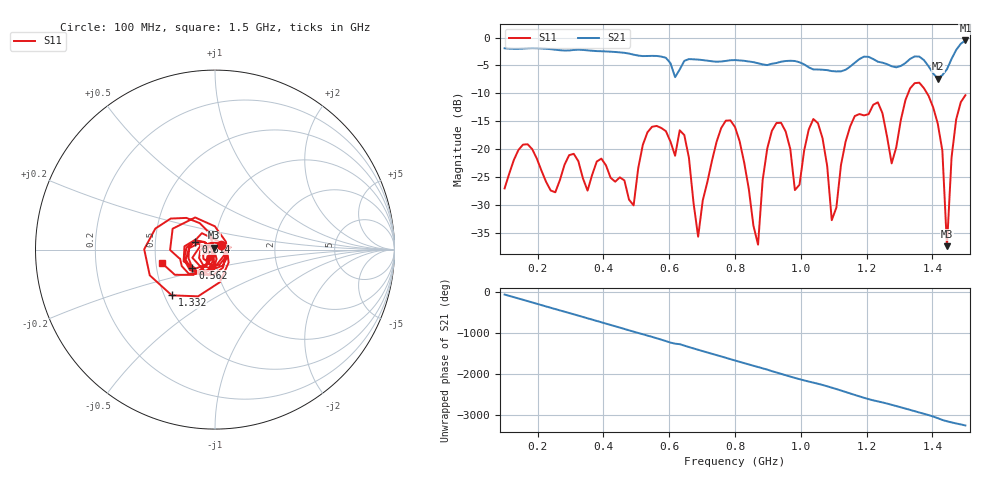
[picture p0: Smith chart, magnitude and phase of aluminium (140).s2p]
! NanoVNA-App
! Date: 2025-09-25 14:56:22
! Start: 100MHz Stop: 1,5GHz Points: 101
! S-Parameter data: F S11 S21 S12 S22
# Hz S RI R 50
!  Frequency  S11_Real  S11_Imag  S21_Real  S21_Imag  S12_Real  S12_Imag  S22_Real  S22_Imag
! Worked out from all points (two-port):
!   101 points, 100 MHz to 1.5 GHz, reference 50 ohm
!   highest |S21| = -0.52 dB at 1.5 GHz (marker M1); lowest = -7.3 dB at 1.416 GHz (marker M2)
!   |S21| within 3 dB of the highest: start of sweep to 583.4 MHz; 1.461 GHz to end of sweep (the widest 2 of 4)
!   lowest |S11| = -37.3 dB at 1.444 GHz (marker M3), VSWR 1.03, Z = 49.2 + j1.11 ohm
!   |S11| at or under -10 dB: start of sweep to 1.326 GHz; 1.384 GHz to end of sweep
!   S12 and S22 are empty: the file has one direction only
!   S11 on the Smith chart (normalised r, x): 100 MHz: 1.07, +0.06; 562 MHz: 0.76, -0.16; 814 MHz: 0.80, +0.07; 1.332 GHz: 0.55, -0.32; 1.5 GHz: 0.54, -0.09
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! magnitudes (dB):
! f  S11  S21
! 100 MHz  -27.0  -1.9
! 338 MHz  -25.2  -2.2
! 492 MHz  -30.0  -3.1
! 562 MHz  -15.8  -3.3
! 576 MHz  -16.2  -3.4
! 646 MHz  -17.5  -4.2
! 688 MHz  -35.7  -3.9
! 800 MHz  -16.0  -4.0
! 814 MHz  -18.5  -4.1
! 870 MHz  -37.1  -4.6
! 912 MHz  -16.7  -4.7
! 982 MHz  -27.3  -4.2
! 1.038 GHz  -14.6  -5.7
! 1.094 GHz  -32.7  -6.0
! 1.164 GHz  -14.0  -4.5
! 1.234 GHz  -11.6  -4.3
! 1.276 GHz  -22.5  -5.1
! 1.332 GHz  -9.1  -3.8
! 1.416 GHz  -15.4  -7.3
! 1.444 GHz  -37.3  -5.7
! 1.472 GHz  -14.6  -2.2
! 1.5 GHz  -10.3  -0.5
